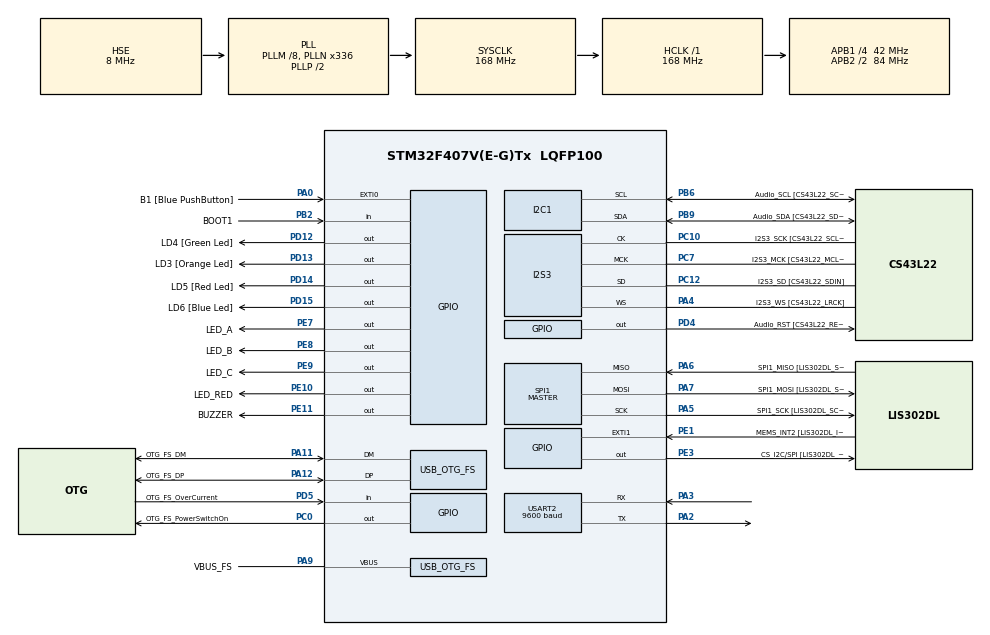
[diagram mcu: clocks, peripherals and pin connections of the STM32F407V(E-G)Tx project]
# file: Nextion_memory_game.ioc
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I2S3.AudioFreq-Half_Duplex_Master=I2S_AUDIOFREQ_96K
I2S3.ErrorAudioFreq=-2.34 %
I2S3.ErrorAudioFreq-Half_Duplex_Master=0.8 %
I2S3.FullDuplexMode=I2S_FULLDUPLEXMODE_DISABLE
I2S3.Instance=SPI$Index
I2S3.RealAudioFreq=93.75 KHz
I2S3.RealAudioFreq-Half_Duplex_Master=96.774 KHz
I2S3.VirtualMode=I2S_MODE_MASTER
Mcu.Family=STM32F4
Mcu.Name=STM32F407V(E-G)Tx
Mcu.Package=LQFP100
NVIC.OTG_FS_IRQn=true\:0\:0\:false\:false\:true\:true\:true\:true
NVIC.PriorityGroup=NVIC_PRIORITYGROUP_0
NVIC.USART2_IRQn=true\:0\:0\:false\:false\:true\:true\:true\:true
PA0-WKUP.GPIO_Label=B1 [Blue PushButton]
PA0-WKUP.GPIO_ModeDefaultEXTI=GPIO_MODE_EVT_RISING
PA0-WKUP.GPIO_PuPd=GPIO_NOPULL
PA0-WKUP.Signal=GPXTI0
PA10.GPIO_Label=OTG_FS_ID
PA10.GPIO_Mode=GPIO_MODE_AF_PP
PA10.GPIO_PuPd=GPIO_NOPULL
PA10.GPIO_Speed=GPIO_SPEED_FREQ_LOW
PA10.Signal=USB_OTG_FS_ID
PA11.GPIO_Label=OTG_FS_DM
PA11.GPIO_Mode=GPIO_MODE_AF_PP
PA11.GPIO_PuPd=GPIO_NOPULL
PA11.GPIO_Speed=GPIO_SPEED_FREQ_LOW
PA11.Mode=Host_Only
PA11.Signal=USB_OTG_FS_DM
PA12.GPIO_Label=OTG_FS_DP
PA12.GPIO_Mode=GPIO_MODE_AF_PP
PA12.GPIO_PuPd=GPIO_NOPULL
PA12.GPIO_Speed=GPIO_SPEED_FREQ_LOW
PA12.Mode=Host_Only
PA12.Signal=USB_OTG_FS_DP
PA13.GPIO_Label=SWDIO
PA13.Mode=Serial_Wire
PA13.Signal=SYS_JTMS-SWDIO
PA14.GPIO_Label=SWCLK
PA14.Mode=Serial_Wire
PA14.Signal=SYS_JTCK-SWCLK
PA2.Mode=Asynchronous
PA2.Signal=USART2_TX
PA3.Mode=Asynchronous
PA3.Signal=USART2_RX
PA4.GPIO_Label=I2S3_WS [CS43L22_LRCK]
PA4.GPIO_Mode=GPIO_MODE_AF_PP
PA4.GPIO_PuPd=GPIO_NOPULL
PA4.GPIO_Speed=GPIO_SPEED_FREQ_LOW
PA4.Mode=Half_Duplex_Master
PA4.Signal=I2S3_WS
PA5.GPIO_Label=SPI1_SCK [LIS302DL_SCL/SPC]
PA5.GPIO_Mode=GPIO_MODE_AF_PP
PA5.GPIO_PuPd=GPIO_NOPULL
PA5.GPIO_Speed=GPIO_SPEED_FREQ_LOW
PA5.Mode=Full_Duplex_Master
PA5.Signal=SPI1_SCK
PA6.GPIO_Label=SPI1_MISO [LIS302DL_SDO]
PA6.GPIO_Mode=GPIO_MODE_AF_PP
PA6.GPIO_PuPd=GPIO_NOPULL
PA6.GPIO_Speed=GPIO_SPEED_FREQ_LOW
PA6.Mode=Full_Duplex_Master
PA6.Signal=SPI1_MISO
PA7.GPIO_Label=SPI1_MOSI [LIS302DL_SDA/SDI/SDO]
PA7.GPIO_Mode=GPIO_MODE_AF_PP
PA7.GPIO_PuPd=GPIO_NOPULL
PA7.GPIO_Speed=GPIO_SPEED_FREQ_LOW
PA7.Mode=Full_Duplex_Master
PA7.Signal=SPI1_MOSI
PA9.GPIO_Label=VBUS_FS
PA9.GPIO_Mode=GPIO_MODE_INPUT
PA9.GPIO_PuPd=GPIO_NOPULL
PA9.Mode=Activate_VBUS
PA9.Signal=USB_OTG_FS_VBUS
PB10.GPIO_Label=CLK_IN [MP45DT02_CLK]
PB10.GPIO_Mode=GPIO_MODE_AF_PP
PB10.GPIO_PuPd=GPIO_NOPULL
PB10.GPIO_Speed=GPIO_SPEED_FREQ_LOW
PB10.Signal=I2S2_CK
PB2.GPIO_Label=BOOT1
PB2.GPIO_Mode=GPIO_MODE_INPUT
PB2.GPIO_PuPd=GPIO_NOPULL
PB2.Signal=GPIO_Input
PB3.GPIO_Label=SWO
PB3.Signal=SYS_JTDO-SWO
PB6.GPIO_Label=Audio_SCL [CS43L22_SCL]
PB6.GPIO_Mode=GPIO_MODE_AF_OD
PB6.GPIO_Pu=GPIO_PULLUP
PB6.GPIO_PuPd=GPIO_NOPULL
PB6.GPIO_Speed=GPIO_SPEED_FREQ_LOW
PB6.Mode=I2C
PB6.Signal=I2C1_SCL
PB9.GPIO_Label=Audio_SDA [CS43L22_SDA]
PB9.GPIO_Mode=GPIO_MODE_AF_OD
PB9.GPIO_Pu=GPIO_PULLUP
PB9.GPIO_PuPd=GPIO_NOPULL
PB9.GPIO_Speed=GPIO_SPEED_FREQ_LOW
PB9.Mode=I2C
PB9.Signal=I2C1_SDA
PC0.GPIO_Label=OTG_FS_PowerSwitchOn
PC0.GPIO_PuPd=GPIO_NOPULL
PC0.GPIO_Speed=GPIO_SPEED_FREQ_LOW
PC0.PinState=GPIO_PIN_SET
PC0.Signal=GPIO_Output
PC10.GPIO_Label=I2S3_SCK [CS43L22_SCLK]
PC10.GPIO_Mode=GPIO_MODE_AF_PP
PC10.GPIO_PuPd=GPIO_NOPULL
PC10.GPIO_Speed=GPIO_SPEED_FREQ_LOW
PC10.Mode=Half_Duplex_Master
PC10.Signal=I2S3_CK
PC12.GPIO_Label=I2S3_SD [CS43L22_SDIN]
PC12.GPIO_Mode=GPIO_MODE_AF_PP
PC12.GPIO_PuPd=GPIO_NOPULL
PC12.GPIO_Speed=GPIO_SPEED_FREQ_LOW
PC12.Mode=Half_Duplex_Master
PC12.Signal=I2S3_SD
PC14-OSC32_IN.GPIO_Label=PC14-OSC32_IN
PC14-OSC32_IN.Mode=LSE-External-Oscillator
PC14-OSC32_IN.Signal=RCC_OSC32_IN
PC15-OSC32_OUT.GPIO_Label=PC15-OSC32_OUT
PC15-OSC32_OUT.Mode=LSE-External-Oscillator
PC15-OSC32_OUT.Signal=RCC_OSC32_OUT
PC3.GPIO_Label=PDM_OUT [MP45DT02_DOUT]
PC3.GPIO_Mode=GPIO_MODE_AF_PP
PC3.GPIO_PuPd=GPIO_NOPULL
PC3.GPIO_Speed=GPIO_SPEED_FREQ_LOW
PC3.Signal=I2S2_SD
PC7.GPIO_Label=I2S3_MCK [CS43L22_MCLK]
PC7.GPIO_Mode=GPIO_MODE_AF_PP
PC7.GPIO_PuPd=GPIO_NOPULL
PC7.GPIO_Speed=GPIO_SPEED_FREQ_LOW
PC7.Mode=Master_Clock_Activated
PC7.Signal=I2S3_MCK
PD12.GPIO_Label=LD4 [Green Led]
PD12.GPIO_PuPd=GPIO_NOPULL
PD12.GPIO_Speed=GPIO_SPEED_FREQ_LOW
PD12.Signal=GPIO_Output
PD13.GPIO_Label=LD3 [Orange Led]
PD13.GPIO_PuPd=GPIO_NOPULL
PD13.GPIO_Speed=GPIO_SPEED_FREQ_LOW
PD13.Signal=GPIO_Output
PD14.GPIO_Label=LD5 [Red Led]
PD14.GPIO_PuPd=GPIO_NOPULL
PD14.GPIO_Speed=GPIO_SPEED_FREQ_LOW
PD14.Signal=GPIO_Output
PD15.GPIO_Label=LD6 [Blue Led]
PD15.GPIO_PuPd=GPIO_NOPULL
PD15.GPIO_Speed=GPIO_SPEED_FREQ_LOW
PD15.Signal=GPIO_Output
PD4.GPIO_Label=Audio_RST [CS43L22_RESET]
PD4.GPIO_PuPd=GPIO_NOPULL
PD4.GPIO_Speed=GPIO_SPEED_FREQ_LOW
PD4.Signal=GPIO_Output
PD5.GPIO_Label=OTG_FS_OverCurrent
PD5.GPIO_Mode=GPIO_MODE_INPUT
PD5.GPIO_PuPd=GPIO_NOPULL
PD5.Signal=GPIO_Input
PE1.GPIO_Label=MEMS_INT2 [LIS302DL_INT2]
PE1.GPIO_ModeDefaultEXTI=GPIO_MODE_EVT_RISING
PE1.GPIO_PuPd=GPIO_NOPULL
PE1.Signal=GPXTI1
PE10.GPIO_Label=LED_RED
PE10.Signal=GPIO_Output
PE11.GPIO_Label=BUZZER
PE11.Signal=GPIO_Output
PE3.GPIO_Label=CS_I2C/SPI [LIS302DL_CS_I2C/SPI]
PE3.GPIO_PuPd=GPIO_NOPULL
PE3.GPIO_Speed=GPIO_SPEED_FREQ_LOW
PE3.Signal=GPIO_Output
PE7.GPIO_Label=LED_A
PE7.Signal=GPIO_Output
PE8.GPIO_Label=LED_B
PE8.Signal=GPIO_Output
PE9.GPIO_Label=LED_C
PE9.Signal=GPIO_Output
PH0-OSC_IN.GPIO_Label=PH0-OSC_IN
PH0-OSC_IN.Mode=HSE-External-Oscillator
PH0-OSC_IN.Signal=RCC_OSC_IN
PH1-OSC_OUT.GPIO_Label=PH1-OSC_OUT
PH1-OSC_OUT.Mode=HSE-External-Oscillator
PH1-OSC_OUT.Signal=RCC_OSC_OUT
ProjectManager.HeapSize=0x200
ProjectManager.StackSize=0x400
ProjectManager.TargetToolchain=STM32CubeIDE
RCC.48MHZClocksFreq_Value=48000000
RCC.AHBFreq_Value=168000000
RCC.APB1CLKDivider=RCC_HCLK_DIV4
RCC.APB1Freq_Value=42000000
RCC.APB1TimFreq_Value=84000000
RCC.APB2CLKDivider=RCC_HCLK_DIV2
RCC.APB2Freq_Value=84000000
RCC.APB2TimFreq_Value=168000000
RCC.CortexFreq_Value=168000000
RCC.HCLKFreq_Value=168000000
RCC.HSE_VALUE=8000000
RCC.HSI_VALUE=16000000
RCC.PLLM=8
RCC.PLLN=336
RCC.PLLQ=7
RCC.SYSCLKFreq_VALUE=168000000
RCC.SYSCLKSource=RCC_SYSCLKSOURCE_PLLCLK
RCC.VCOOutputFreq_Value=336000000
SPI1.BaudRatePrescaler-Full_Duplex_Master=SPI_BAUDRATEPRESCALER_2
SPI1.CalculateBaudRate-Full_Duplex_Master=42.0 MBits/s
SPI1.Direction=SPI_DIRECTION_2LINES
SPI1.Mode=SPI_MODE_MASTER
SPI1.Mode-Full_Duplex_Master=SPI_MODE_MASTER
SPI1.VirtualType=VM_MASTER
USART2.BaudRate=9600
USART2.VirtualMode=VM_ASYNC
USB_HOST.BSP.number=1
USB_HOST.USBH_HandleTypeDef-CDC_FS=hUsbHostFS
USB_HOST.VirtualModeFS=Cdc
USB_HOST0.BSP.STBoard=false
USB_HOST0.BSP.api=Unknown
USB_HOST0.BSP.instance=PC0
USB_HOST0.BSP.ip=GPIO
USB_HOST0.BSP.mode=Output
USB_HOST0.BSP.name=Drive_VBUS_FS
USB_HOST0.BSP.solution=PC0
USB_OTG_FS.VirtualMode=Host_Only
USB_OTG_FS.phy_itface=HCD_PHY_EMBEDDED
VP_USB_HOST_VS_USB_HOST_CDC_FS.Mode=CDC_FS
board=STM32F407G-DISC1

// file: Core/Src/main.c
/* USER CODE BEGIN Header */
/**
  ******************************************************************************
  * @file           : main.c
  * @brief          : Main program body
  ******************************************************************************
  * @attention
  *
  * Copyright (c) 2026 STMicroelectronics.
  * All rights reserved.
  *
  * This software is licensed under terms that can be found in the LICENSE file
  * in the root directory of this software component.
  * If no LICENSE file comes with this software, it is provided AS-IS.
  *
  ******************************************************************************
  */
/* USER CODE END Header */
#include "main.h"
#include "usb_host.h"

/* USER CODE BEGIN Includes */
#include<stdlib.h>
#include<stdio.h>
/* USER CODE END Includes */

I2C_HandleTypeDef hi2c1;

I2S_HandleTypeDef hi2s3;

SPI_HandleTypeDef hspi1;

UART_HandleTypeDef huart2;

/* USER CODE BEGIN PV */
	uint8_t data[1];
	uint8_t level = 1;
	uint8_t status = 0;
	uint8_t led_pattern[6];
	uint8_t user_input_pattern[6];
	uint8_t random_number;
	uint8_t end[] = {0xFF,0xFF,0xFF};
	uint8_t input_flag = 0;
	uint8_t control_flag = 1;
	uint8_t input_index = 0;
/* USER CODE END PV */

void SystemClock_Config(void);
static void MX_GPIO_Init(void);
static void MX_I2C1_Init(void);
static void MX_I2S3_Init(void);
static void MX_SPI1_Init(void);
static void MX_USART2_UART_Init(void);
void MX_USB_HOST_Process(void);

/* USER CODE BEGIN PFP */
void Update_Nextion_Level(uint8_t current_level);
/* USER CODE END PFP */

int main(void)
{

  /* MCU Configuration--------------------------------------------------------*/

  /* Reset of all peripherals, Initializes the Flash interface and the Systick. */
  HAL_Init();

  /* Configure the system clock */
  SystemClock_Config();

  /* Initialize all configured peripherals */
  MX_GPIO_Init();
  MX_I2C1_Init();
  MX_I2S3_Init();
  MX_SPI1_Init();
  MX_USART2_UART_Init();
  MX_USB_HOST_Init();
  /* USER CODE BEGIN 2 */
  HAL_UART_Receive_IT(&huart2,data,1);
  HAL_GPIO_WritePin(LED_A_GPIO_Port,LED_A_Pin,GPIO_PIN_SET);
  HAL_GPIO_WritePin(LED_B_GPIO_Port,LED_B_Pin,GPIO_PIN_SET);
  HAL_GPIO_WritePin(LED_C_GPIO_Port,LED_C_Pin,GPIO_PIN_SET);
  HAL_Delay(500);
  HAL_GPIO_WritePin(LED_A_GPIO_Port,LED_A_Pin,GPIO_PIN_RESET);
  HAL_GPIO_WritePin(LED_B_GPIO_Port,LED_B_Pin,GPIO_PIN_RESET);
  HAL_GPIO_WritePin(LED_C_GPIO_Port,LED_C_Pin,GPIO_PIN_RESET);
  /* USER CODE END 2 */

  /* Infinite loop */
  while (1)
  {
    MX_USB_HOST_Process();

    /* USER CODE BEGIN 3 */
    if(status == 0){
    	for(uint8_t i = 0; i < level ; i++){
    		random_number = (rand() % 3) + 1;
    		if(random_number == 1){
    			led_pattern[i] = 0x41;
    			HAL_GPIO_WritePin(LED_A_GPIO_Port,LED_A_Pin,GPIO_PIN_SET);
    			HAL_Delay(500);
    			HAL_GPIO_WritePin(LED_A_GPIO_Port,LED_A_Pin,GPIO_PIN_RESET);
    		}else if(random_number == 2){
    			led_pattern[i] = 0x42;
    			HAL_GPIO_WritePin(LED_B_GPIO_Port,LED_B_Pin,GPIO_PIN_SET);
    			HAL_Delay(500);
    			HAL_GPIO_WritePin(LED_B_GPIO_Port,LED_B_Pin,GPIO_PIN_RESET);
    		}else if(random_number == 3){
    			led_pattern[i] = 0x43;
    			HAL_GPIO_WritePin(LED_C_GPIO_Port,LED_C_Pin,GPIO_PIN_SET);
    			HAL_Delay(500);
    			HAL_GPIO_WritePin(LED_C_GPIO_Port,LED_C_Pin,GPIO_PIN_RESET);
    		}
			HAL_Delay(500);
    	}
    	srand(HAL_GetTick());
    	status = 1;
    	data[0] = 0;
    } else if(status == 1) {

            if(input_flag == 1) {
                input_flag = 0;

                user_input_pattern[input_index] = data[0];

                if(user_input_pattern[input_index] != led_pattern[input_index]) {
                    control_flag = 0;
                }

                input_index++;

                if(input_index == level || control_flag == 0) {

                    if(control_flag == 1) {

                        level++;
                        if(level > 5) level = 1;

                        HAL_GPIO_WritePin(BUZZER_GPIO_Port,BUZZER_Pin,GPIO_PIN_SET);
                        HAL_Delay(300);
                        HAL_GPIO_WritePin(BUZZER_GPIO_Port,BUZZER_Pin,GPIO_PIN_RESET);
                        HAL_Delay(200);
                        HAL_GPIO_WritePin(BUZZER_GPIO_Port,BUZZER_Pin,GPIO_PIN_SET);
                        HAL_Delay(100);
                        HAL_GPIO_WritePin(BUZZER_GPIO_Port,BUZZER_Pin,GPIO_PIN_RESET);

                        Update_Nextion_Level(level);
                    }
                    else {

                        HAL_GPIO_WritePin(LED_RED_GPIO_Port,LED_RED_Pin,GPIO_PIN_SET);
                        HAL_GPIO_WritePin(BUZZER_GPIO_Port,BUZZER_Pin,GPIO_PIN_SET);
                        HAL_Delay(100);
                        HAL_GPIO_WritePin(BUZZER_GPIO_Port,BUZZER_Pin,GPIO_PIN_RESET);
                        HAL_Delay(200);
                        HAL_GPIO_WritePin(BUZZER_GPIO_Port,BUZZER_Pin,GPIO_PIN_SET);
                        HAL_Delay(300);
                        HAL_GPIO_WritePin(BUZZER_GPIO_Port,BUZZER_Pin,GPIO_PIN_RESET);
                        HAL_GPIO_WritePin(LED_RED_GPIO_Port,LED_RED_Pin,GPIO_PIN_RESET);

                        level = 1;
                        Update_Nextion_Level(level);
                    }

                    status = 0;
                    input_index = 0;
                    control_flag = 1;
                }
            }
        }

  }
  /* USER CODE END 3 */
}

void SystemClock_Config(void)
{
  RCC_OscInitTypeDef RCC_OscInitStruct = {0};
  RCC_ClkInitTypeDef RCC_ClkInitStruct = {0};

  /** Configure the main internal regulator output voltage
  */
  __HAL_RCC_PWR_CLK_ENABLE();
  __HAL_PWR_VOLTAGESCALING_CONFIG(PWR_REGULATOR_VOLTAGE_SCALE1);

  /** Initializes the RCC Oscillators according to the specified parameters
  * in the RCC_OscInitTypeDef structure.
  */
  RCC_OscInitStruct.OscillatorType = RCC_OSCILLATORTYPE_HSE;
  RCC_OscInitStruct.HSEState = RCC_HSE_ON;
  RCC_OscInitStruct.PLL.PLLState = RCC_PLL_ON;
  RCC_OscInitStruct.PLL.PLLSource = RCC_PLLSOURCE_HSE;
  RCC_OscInitStruct.PLL.PLLM = 8;
  RCC_OscInitStruct.PLL.PLLN = 336;
  RCC_OscInitStruct.PLL.PLLP = RCC_PLLP_DIV2;
  RCC_OscInitStruct.PLL.PLLQ = 7;
  if (HAL_RCC_OscConfig(&RCC_OscInitStruct) != HAL_OK)
  {
    Error_Handler();
  }

  /** Initializes the CPU, AHB and APB buses clocks
  */
  RCC_ClkInitStruct.ClockType = RCC_CLOCKTYPE_HCLK|RCC_CLOCKTYPE_SYSCLK
                              |RCC_CLOCKTYPE_PCLK1|RCC_CLOCKTYPE_PCLK2;
  RCC_ClkInitStruct.SYSCLKSource = RCC_SYSCLKSOURCE_PLLCLK;
  RCC_ClkInitStruct.AHBCLKDivider = RCC_SYSCLK_DIV1;
  RCC_ClkInitStruct.APB1CLKDivider = RCC_HCLK_DIV4;
  RCC_ClkInitStruct.APB2CLKDivider = RCC_HCLK_DIV2;

  if (HAL_RCC_ClockConfig(&RCC_ClkInitStruct, FLASH_LATENCY_5) != HAL_OK)
  {
    Error_Handler();
  }
}

static void MX_I2C1_Init(void)
{

  hi2c1.Instance = I2C1;
  hi2c1.Init.ClockSpeed = 100000;
  hi2c1.Init.DutyCycle = I2C_DUTYCYCLE_2;
  hi2c1.Init.OwnAddress1 = 0;
  hi2c1.Init.AddressingMode = I2C_ADDRESSINGMODE_7BIT;
  hi2c1.Init.DualAddressMode = I2C_DUALADDRESS_DISABLE;
  hi2c1.Init.OwnAddress2 = 0;
  hi2c1.Init.GeneralCallMode = I2C_GENERALCALL_DISABLE;
  hi2c1.Init.NoStretchMode = I2C_NOSTRETCH_DISABLE;
  if (HAL_I2C_Init(&hi2c1) != HAL_OK)
  {
    Error_Handler();
  }

}

static void MX_I2S3_Init(void)
{

  hi2s3.Instance = SPI3;
  hi2s3.Init.Mode = I2S_MODE_MASTER_TX;
  hi2s3.Init.Standard = I2S_STANDARD_PHILIPS;
  hi2s3.Init.DataFormat = I2S_DATAFORMAT_16B;
  hi2s3.Init.MCLKOutput = I2S_MCLKOUTPUT_ENABLE;
  hi2s3.Init.AudioFreq = I2S_AUDIOFREQ_96K;
  hi2s3.Init.CPOL = I2S_CPOL_LOW;
  hi2s3.Init.ClockSource = I2S_CLOCK_PLL;
  hi2s3.Init.FullDuplexMode = I2S_FULLDUPLEXMODE_DISABLE;
  if (HAL_I2S_Init(&hi2s3) != HAL_OK)
  {
    Error_Handler();
  }

}

static void MX_SPI1_Init(void)
{

  /* SPI1 parameter configuration*/
  hspi1.Instance = SPI1;
  hspi1.Init.Mode = SPI_MODE_MASTER;
  hspi1.Init.Direction = SPI_DIRECTION_2LINES;
  hspi1.Init.DataSize = SPI_DATASIZE_8BIT;
  hspi1.Init.CLKPolarity = SPI_POLARITY_LOW;
  hspi1.Init.CLKPhase = SPI_PHASE_1EDGE;
  hspi1.Init.NSS = SPI_NSS_SOFT;
  hspi1.Init.BaudRatePrescaler = SPI_BAUDRATEPRESCALER_2;
  hspi1.Init.FirstBit = SPI_FIRSTBIT_MSB;
  hspi1.Init.TIMode = SPI_TIMODE_DISABLE;
  hspi1.Init.CRCCalculation = SPI_CRCCALCULATION_DISABLE;
  hspi1.Init.CRCPolynomial = 10;
  if (HAL_SPI_Init(&hspi1) != HAL_OK)
  {
    Error_Handler();
  }

}

static void MX_USART2_UART_Init(void)
{

  huart2.Instance = USART2;
  huart2.Init.BaudRate = 9600;
  huart2.Init.WordLength = UART_WORDLENGTH_8B;
  huart2.Init.StopBits = UART_STOPBITS_1;
  huart2.Init.Parity = UART_PARITY_NONE;
  huart2.Init.Mode = UART_MODE_TX_RX;
  huart2.Init.HwFlowCtl = UART_HWCONTROL_NONE;
  huart2.Init.OverSampling = UART_OVERSAMPLING_16;
  if (HAL_UART_Init(&huart2) != HAL_OK)
  {
    Error_Handler();
  }

}

static void MX_GPIO_Init(void)
{
  GPIO_InitTypeDef GPIO_InitStruct = {0};

  /* GPIO Ports Clock Enable */
  __HAL_RCC_GPIOE_CLK_ENABLE();
  __HAL_RCC_GPIOC_CLK_ENABLE();
  __HAL_RCC_GPIOH_CLK_ENABLE();
  __HAL_RCC_GPIOA_CLK_ENABLE();
  __HAL_RCC_GPIOB_CLK_ENABLE();
  __HAL_RCC_GPIOD_CLK_ENABLE();

  /*Configure GPIO pin Output Level */
  HAL_GPIO_WritePin(GPIOE, CS_I2C_SPI_Pin|LED_A_Pin|LED_B_Pin|LED_C_Pin
                          |LED_RED_Pin|BUZZER_Pin, GPIO_PIN_RESET);

  /*Configure GPIO pin Output Level */
  HAL_GPIO_WritePin(OTG_FS_PowerSwitchOn_GPIO_Port, OTG_FS_PowerSwitchOn_Pin, GPIO_PIN_SET);

  /*Configure GPIO pin Output Level */
  HAL_GPIO_WritePin(GPIOD, LD4_Pin|LD3_Pin|LD5_Pin|LD6_Pin
                          |Audio_RST_Pin, GPIO_PIN_RESET);

  /*Configure GPIO pins : CS_I2C_SPI_Pin LED_A_Pin LED_B_Pin LED_C_Pin
                           LED_RED_Pin BUZZER_Pin */
  GPIO_InitStruct.Pin = CS_I2C_SPI_Pin|LED_A_Pin|LED_B_Pin|LED_C_Pin
                          |LED_RED_Pin|BUZZER_Pin;
  GPIO_InitStruct.Mode = GPIO_MODE_OUTPUT_PP;
  GPIO_InitStruct.Pull = GPIO_NOPULL;
  GPIO_InitStruct.Speed = GPIO_SPEED_FREQ_LOW;
  HAL_GPIO_Init(GPIOE, &GPIO_InitStruct);

  /*Configure GPIO pin : OTG_FS_PowerSwitchOn_Pin */
  GPIO_InitStruct.Pin = OTG_FS_PowerSwitchOn_Pin;
  GPIO_InitStruct.Mode = GPIO_MODE_OUTPUT_PP;
  GPIO_InitStruct.Pull = GPIO_NOPULL;
  GPIO_InitStruct.Speed = GPIO_SPEED_FREQ_LOW;
  HAL_GPIO_Init(OTG_FS_PowerSwitchOn_GPIO_Port, &GPIO_InitStruct);

  /*Configure GPIO pin : PDM_OUT_Pin */
  GPIO_InitStruct.Pin = PDM_OUT_Pin;
  GPIO_InitStruct.Mode = GPIO_MODE_AF_PP;
  GPIO_InitStruct.Pull = GPIO_NOPULL;
  GPIO_InitStruct.Speed = GPIO_SPEED_FREQ_LOW;
  GPIO_InitStruct.Alternate = GPIO_AF5_SPI2;
  HAL_GPIO_Init(PDM_OUT_GPIO_Port, &GPIO_InitStruct);

  /*Configure GPIO pin : B1_Pin */
  GPIO_InitStruct.Pin = B1_Pin;
  GPIO_InitStruct.Mode = GPIO_MODE_EVT_RISING;
  GPIO_InitStruct.Pull = GPIO_NOPULL;
  HAL_GPIO_Init(B1_GPIO_Port, &GPIO_InitStruct);

  /*Configure GPIO pin : BOOT1_Pin */
  GPIO_InitStruct.Pin = BOOT1_Pin;
  GPIO_InitStruct.Mode = GPIO_MODE_INPUT;
  GPIO_InitStruct.Pull = GPIO_NOPULL;
  HAL_GPIO_Init(BOOT1_GPIO_Port, &GPIO_InitStruct);

  /*Configure GPIO pin : CLK_IN_Pin */
  GPIO_InitStruct.Pin = CLK_IN_Pin;
  GPIO_InitStruct.Mode = GPIO_MODE_AF_PP;
  GPIO_InitStruct.Pull = GPIO_NOPULL;
  GPIO_InitStruct.Speed = GPIO_SPEED_FREQ_LOW;
  GPIO_InitStruct.Alternate = GPIO_AF5_SPI2;
  HAL_GPIO_Init(CLK_IN_GPIO_Port, &GPIO_InitStruct);

  /*Configure GPIO pins : LD4_Pin LD3_Pin LD5_Pin LD6_Pin
                           Audio_RST_Pin */
  GPIO_InitStruct.Pin = LD4_Pin|LD3_Pin|LD5_Pin|LD6_Pin
                          |Audio_RST_Pin;
  GPIO_InitStruct.Mode = GPIO_MODE_OUTPUT_PP;
  GPIO_InitStruct.Pull = GPIO_NOPULL;
  GPIO_InitStruct.Speed = GPIO_SPEED_FREQ_LOW;
  HAL_GPIO_Init(GPIOD, &GPIO_InitStruct);

  /*Configure GPIO pin : OTG_FS_OverCurrent_Pin */
  GPIO_InitStruct.Pin = OTG_FS_OverCurrent_Pin;
  GPIO_InitStruct.Mode = GPIO_MODE_INPUT;
  GPIO_InitStruct.Pull = GPIO_NOPULL;
  HAL_GPIO_Init(OTG_FS_OverCurrent_GPIO_Port, &GPIO_InitStruct);

  /*Configure GPIO pin : MEMS_INT2_Pin */
  GPIO_InitStruct.Pin = MEMS_INT2_Pin;
  GPIO_InitStruct.Mode = GPIO_MODE_EVT_RISING;
  GPIO_InitStruct.Pull = GPIO_NOPULL;
  HAL_GPIO_Init(MEMS_INT2_GPIO_Port, &GPIO_InitStruct);

}

/* USER CODE BEGIN 4 */
void HAL_UART_RxCpltCallback(UART_HandleTypeDef *huart){
	if(huart ->Instance == USART2){
		input_flag = 1;
		HAL_UART_Receive_IT(&huart2,data,1);
	}
}
void Update_Nextion_Level(uint8_t current_level){
	char cmd[20];
	uint32_t str = sprintf(cmd,"t0.txt=\"level %d\"",current_level);
	HAL_UART_Transmit(&huart2,(uint8_t *)cmd,str,100);
	HAL_UART_Transmit(&huart2,end,3,100);
}

/* USER CODE END 4 */

void Error_Handler(void)
{
  __disable_irq();
  while (1)
  {
  }
}
